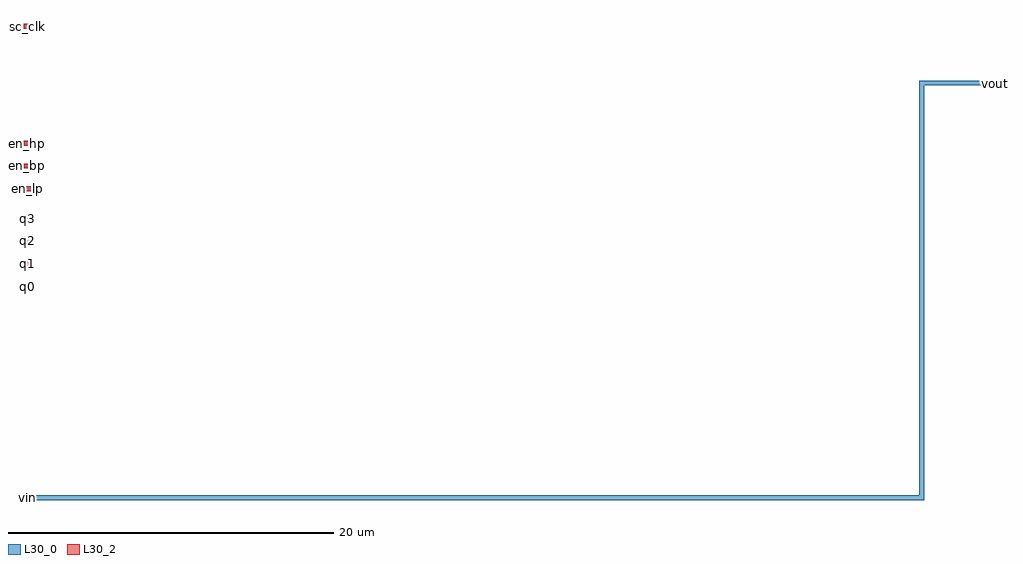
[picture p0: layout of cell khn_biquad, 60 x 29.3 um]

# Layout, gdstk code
import gdstk
lib = gdstk.Library(unit=1e-6, precision=1e-09)
def R(c, l, rs):  # rectangles x0, y0, x1, y1
    for r in rs: c.add(gdstk.rectangle(r[:2], r[2:], *l))
def A(c, l, x, y, w, h, nx, ny, dx, dy):  # array of equal rectangles
    R(c, l, [(x+i*dx, y+j*dy, x+i*dx+w, y+j*dy+h) for i in range(nx) for j in range(ny)])
L30_0 = (30, 0)
L30_2 = (30, 2)

khn_biquad = lib.new_cell('khn_biquad')
A(khn_biquad, L30_0, 0, 23.85, 0.5, 0.3, 1, 4, 0, 1.4)
A(khn_biquad, L30_0, 0, 29.85, 0.5, 0.3, 1, 3, 0, 1.4)
R(khn_biquad, L30_0, [(0,10.85,0.5,11.15), (59.5,36.35,60,36.65), (0,39.85,0.5,40.15)])
A(khn_biquad, L30_2, 0, 23.85, 0.5, 0.3, 1, 4, 0, 1.4)
A(khn_biquad, L30_2, 0, 29.85, 0.5, 0.3, 1, 3, 0, 1.4)
R(khn_biquad, L30_2, [(0,10.85,0.5,11.15), (59.5,36.35,60,36.65), (0,39.85,0.5,40.15)])
khn_biquad.add(gdstk.FlexPath([(0.245,10.995),(55.21,10.995),(55.21,36.5),(59.765,36.5),(59.765,36.5)], 0.3, ends="flush", simple_path=True, layer=30, datatype=0))  # L30_0
khn_biquad.add(gdstk.Label('vin', (0.25,11), layer=30, texttype=25))
khn_biquad.add(gdstk.Label('vout', (59.75,36.5), layer=30, texttype=25))
khn_biquad.add(gdstk.Label('q0', (0.25,24), layer=30, texttype=25))
khn_biquad.add(gdstk.Label('q1', (0.25,25.4), layer=30, texttype=25))
khn_biquad.add(gdstk.Label('q2', (0.25,26.8), layer=30, texttype=25))
khn_biquad.add(gdstk.Label('q3', (0.25,28.2), layer=30, texttype=25))
khn_biquad.add(gdstk.Label('en_lp', (0.25,30), layer=30, texttype=25))
khn_biquad.add(gdstk.Label('en_bp', (0.25,31.4), layer=30, texttype=25))
khn_biquad.add(gdstk.Label('en_hp', (0.25,32.8), layer=30, texttype=25))
khn_biquad.add(gdstk.Label('sc_clk', (0.25,40), layer=30, texttype=25))
khn_biquad.add(gdstk.Label('VDD', (30,57), layer=30, texttype=25))
khn_biquad.add(gdstk.Label('VSS', (30,1), layer=30, texttype=25))

lib.write_gds('khn_biquad.gds')
